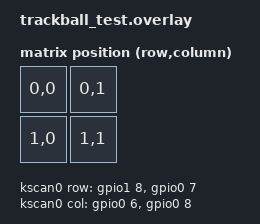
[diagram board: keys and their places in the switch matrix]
/*
 * 机上試験用：Feather nRF52840 Express ＋ タクトスイッチ4個（2行×2列）＋ PMW3610 基板（zzz-kbd）
 * 配線は trackball-keyboard リポジトリの CLAUDE.md の配線表と firmware/test/arduino の key_check と同じ
 */

#include <dt-bindings/zmk/matrix_transform.h>
#include <zephyr/dt-bindings/input/input-event-codes.h>
#include <input/processors.dtsi>
#include "trackball_test-layouts.dtsi"

/ {
    chosen {
        zmk,kscan = &kscan0;
        zmk,physical-layout = &trackball_test_physical_layout;
    };

    // キー：ダイオードなしの 2×2 マトリクス。列に電圧を出し、行で読む
    kscan0: kscan0 {
        compatible = "zmk,kscan-gpio-matrix";
        diode-direction = "col2row";
        wakeup-source;

        col-gpios
            = <&gpio0 6 GPIO_ACTIVE_HIGH>    // 列0：D11 = P0.06
            , <&gpio0 8 GPIO_ACTIVE_HIGH>    // 列1：D12 = P0.08
            ;

        row-gpios
            = <&gpio1 8 (GPIO_ACTIVE_HIGH | GPIO_PULL_DOWN)>   // 行0：D5 = P1.08
            , <&gpio0 7 (GPIO_ACTIVE_HIGH | GPIO_PULL_DOWN)>   // 行1：D6 = P0.07
            ;
    };

    default_transform: keymap_transform0 {
        compatible = "zmk,matrix-transform";
        columns = <2>;
        rows = <2>;
        map = <
        //   SW1     SW2
            RC(0,0) RC(0,1)
        //   SW3     SW4
            RC(1,0) RC(1,1)
        >;
    };

    trackball_listener {
        compatible = "zmk,input-listener";
        device = <&trackball>;
    };
};

// PMW3610：3線式 SPI（SDIO 1本で送受信するので、MOSI と MISO に同じピンを割り当てる）
&pinctrl {
    spi0_default: spi0_default {
        group1 {
            psels = <NRF_PSEL(SPIM_SCK, 0, 14)>,    // SCLK：SCK = P0.14
                    <NRF_PSEL(SPIM_MOSI, 0, 13)>,   // SDIO：MO = P0.13
                    <NRF_PSEL(SPIM_MISO, 0, 13)>;   // SDIO：MO = P0.13
        };
    };

    spi0_sleep: spi0_sleep {
        group1 {
            psels = <NRF_PSEL(SPIM_SCK, 0, 14)>,
                    <NRF_PSEL(SPIM_MOSI, 0, 13)>,
                    <NRF_PSEL(SPIM_MISO, 0, 13)>;
            low-power-enable;
        };
    };
};

&spi0 {
    status = "okay";
    compatible = "nordic,nrf-spim";
    pinctrl-0 = <&spi0_default>;
    pinctrl-1 = <&spi0_sleep>;
    pinctrl-names = "default", "sleep";
    cs-gpios = <&gpio0 27 GPIO_ACTIVE_LOW>;    // nCS：D10 = P0.27

    trackball: trackball@0 {
        status = "okay";
        compatible = "pixart,pmw3610";
        reg = <0>;
        spi-max-frequency = <2000000>;
        irq-gpios = <&gpio0 26 (GPIO_ACTIVE_LOW | GPIO_PULL_UP)>;   // MOTION：D9 = P0.26
        cpi = <600>;
        evt-type = <INPUT_EV_REL>;
        x-input-code = <INPUT_REL_X>;
        y-input-code = <INPUT_REL_Y>;
    };
};
